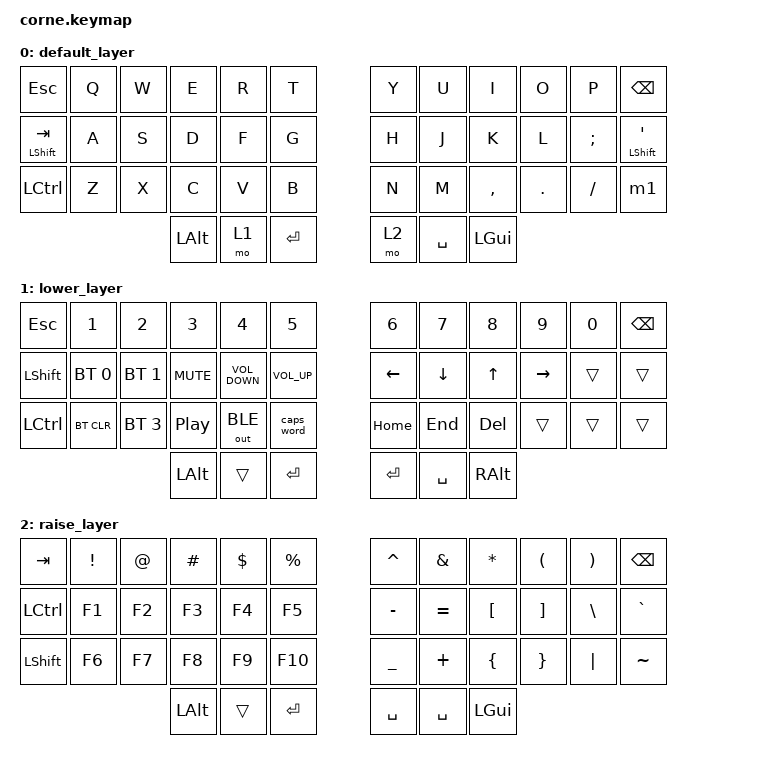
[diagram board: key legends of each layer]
/*
 * Copyright (c) 2020 The ZMK Contributors
 *
 * SPDX-License-Identifier: MIT
 */

#include <behaviors.dtsi>
#include <dt-bindings/zmk/bt.h>
#include <dt-bindings/zmk/keys.h>
#include <dt-bindings/zmk/outputs.h>

/ {
    macros {
        m1: m1 {
            compatible = "zmk,behavior-macro";
            #binding-cells = <0>;
            bindings = <&none &kp AT &kp LS(T) &kp H &kp A &kp N &kp T &kp A &kp I &kp D &kp E &kp N &kp N8 &kp N6 &kp N8 &kp N6>;
            label = "M1";
        };
    };

    keymap {
        compatible = "zmk,keymap";

        default_layer {
            // -----------------------------------------------------------------------------------------
            // |  TAB |  Q  |  W  |  E  |  R  |  T  |   |  Y  |  U   |  I  |  O  |  P  | BKSP |
            // | CTRL |  A  |  S  |  D  |  F  |  G  |   |  H  |  J   |  K  |  L  |  ;  |  '   |
            // | SHFT |  Z  |  X  |  C  |  V  |  B  |   |  N  |  M   |  ,  |  .  |  /  | ESC  |
            //                    | GUI | LWR | SPC |   | ENT | RSE  | ALT |

            bindings = <
&kp ESC             &kp Q  &kp W  &kp E         &kp R  &kp T        &kp Y  &kp U      &kp I         &kp O    &kp P     &kp BSPC
&mt LEFT_SHIFT TAB  &kp A  &kp S  &kp D         &kp F  &kp G        &kp H  &kp J      &kp K         &kp L    &kp SEMI  &mt LEFT_SHIFT SQT
&kp LEFT_CONTROL    &kp Z  &kp X  &kp C         &kp V  &kp B        &kp N  &kp M      &kp COMMA     &kp DOT  &kp FSLH  &m1
                                  &kp LEFT_ALT  &mo 1  &kp ENTER    &mo 2  &kp SPACE  &kp LEFT_GUI
            >;
        };

        lower_layer {
            // -----------------------------------------------------------------------------------------
            // |  TAB |  1  |  2  |  3  |  4  |  5  |   |  6  |  7  |  8  |  9  |  0  | BKSP |
            // | BTCLR| BT1 | BT2 | BT3 | BT4 | BT5 |   | LFT | DWN |  UP | RGT |     |      |
            // | SHFT |     |     |     |     |     |   |     |     |     |     |     |      |
            //                    | GUI |     | SPC |   | ENT |     | ALT |

            bindings = <
&kp ESCAPE      &kp N1        &kp N2        &kp N3            &kp N4             &kp N5             &kp N6    &kp N7     &kp N8    &kp N9     &kp N0  &kp BSPC
&kp LEFT_SHIFT  &bt BT_SEL 0  &bt BT_SEL 1  &kp C_MUTE        &kp C_VOLUME_DOWN  &kp C_VOLUME_UP    &kp LEFT  &kp DOWN   &kp UP    &kp RIGHT  &trans  &trans
&kp LCTRL       &bt BT_CLR    &bt BT_SEL 3  &kp C_PLAY_PAUSE  &out OUT_BLE       &caps_word         &kp HOME  &kp END    &kp DEL   &trans     &trans  &trans
                                            &kp LEFT_ALT      &trans             &kp ENTER          &kp RET   &kp SPACE  &kp RALT
            >;
        };

        raise_layer {
            // -----------------------------------------------------------------------------------------
            // |  TAB |  !  |  @  |  #  |  $  |  %  |   |  ^  |  &  |  *  |  (  |  )  | BKSP |
            // | CTRL |     |     |     |     |     |   |  -  |  =  |  [  |  ]  |  \  |  `   |
            // | SHFT |     |     |     |     |     |   |  _  |  +  |  {  |  }  | "|" |  ~   |
            //                    | GUI |     | SPC |   | ENT |     | ALT |

            bindings = <
&kp TAB    &kp EXCL  &kp AT  &kp HASH      &kp DLLR  &kp PRCNT    &kp CARET  &kp AMPS   &kp ASTRK     &kp LPAR  &kp RPAR  &kp BSPC
&kp LCTRL  &kp F1    &kp F2  &kp F3        &kp F4    &kp F5       &kp MINUS  &kp EQUAL  &kp LBKT      &kp RBKT  &kp BSLH  &kp GRAVE
&kp LSHFT  &kp F6    &kp F7  &kp F8        &kp F9    &kp F10      &kp UNDER  &kp PLUS   &kp LBRC      &kp RBRC  &kp PIPE  &kp TILDE
                             &kp LEFT_ALT  &trans    &kp ENTER    &kp SPACE  &kp SPACE  &kp LEFT_GUI
            >;
        };
    };
};
